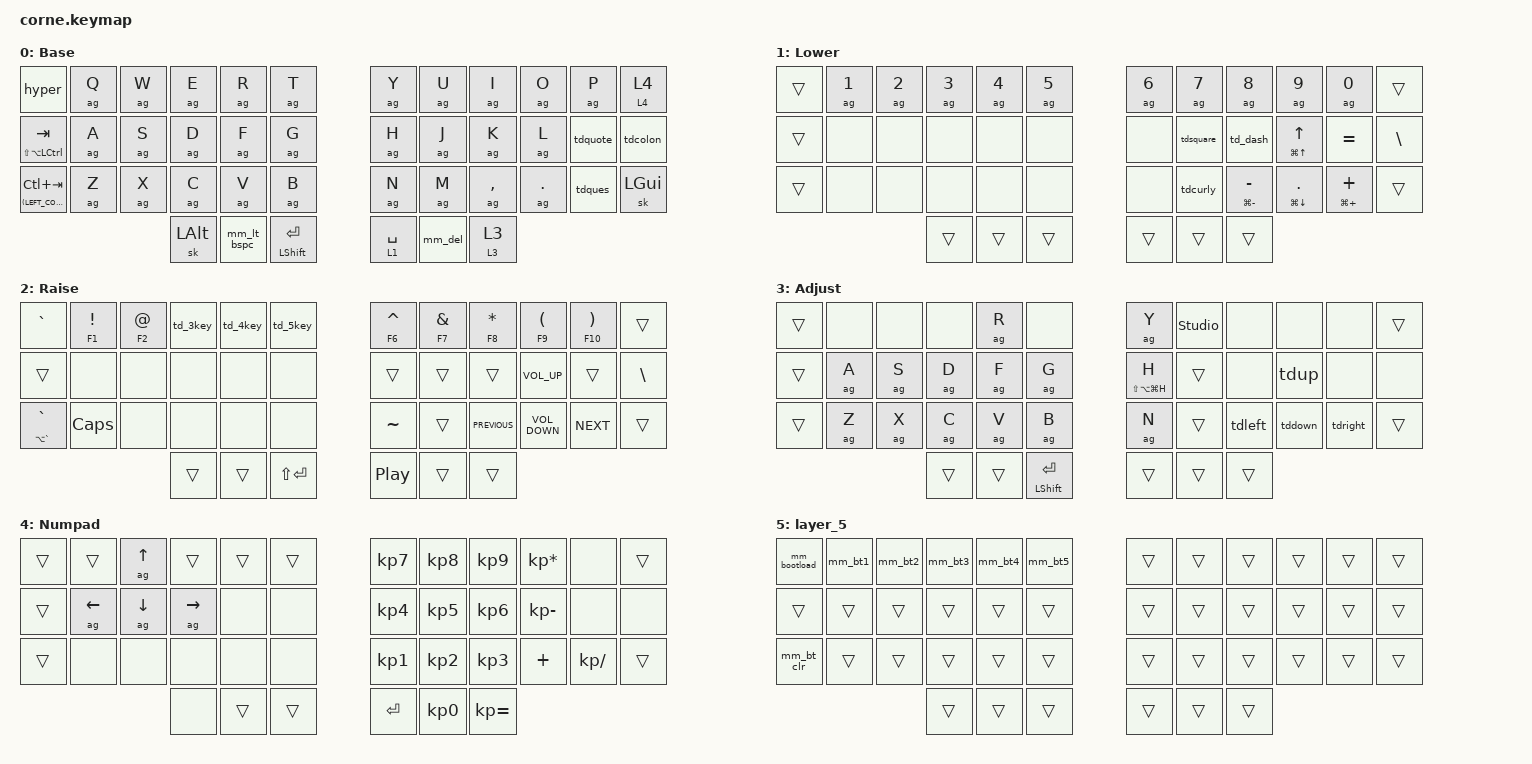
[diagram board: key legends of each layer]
/*
 * Copyright (c) 2020 The ZMK Contributors
 *
 * SPDX-License-Identifier: MIT
 */

#include <behaviors.dtsi>
#include <dt-bindings/zmk/bt.h>
#include <dt-bindings/zmk/keys.h>

#define DEFAULT 0
#define LWR     1
#define RAS     2
#define ADJ     3
#define NUM     4

#define AG(keycode) &ag LG(keycode) keycode     // AutoGUI Macro

#define MEH     &kp LC(LS(LALT))
#define HYPER   &kp LC(LS(LA(LGUI)))

&mt { tapping-term-ms = <250>; };

/ {
    behaviors {
        tdques: td_ques {
            compatible = "zmk,behavior-tap-dance";
            #binding-cells = <0>;
            tapping-term-ms = <250>;
            bindings = <&htslash 0 SLASH>, <&kp QUESTION>, <&wth>;
        };

        tdquote: td_quote {
            compatible = "zmk,behavior-tap-dance";
            #binding-cells = <0>;
            tapping-term-ms = <200>;
            bindings = <&kp SQT>, <&kp DQT>;
        };

        tdcolon: td_colon {
            compatible = "zmk,behavior-tap-dance";
            #binding-cells = <0>;
            tapping-term-ms = <250>;
            bindings = <&kp SEMICOLON>, <&kp COLON>;
        };

        tdleft: td_left {
            compatible = "zmk,behavior-tap-dance";
            #binding-cells = <0>;
            bindings = <&mt LA(LEFT) LEFT>, <&ag LEFT>;

            tapping-term-ms = <250>;
        };

        ag_ht: ag_ht {
            compatible = "zmk,behavior-hold-tap";
            label = "AG_HT";
            bindings = <&gui>, <&kp>;

            #binding-cells = <2>;
            tapping-term-ms = <250>;
            flavor = "tap-preferred";
        };

        tdright: td_right_arrow {
            compatible = "zmk,behavior-tap-dance";
            #binding-cells = <0>;
            bindings = <&mt LA(RIGHT_ARROW) RIGHT>, <&ag RIGHT_ARROW>;

            tapping-term-ms = <250>;
        };

        tdup: td_up_arrow {
            compatible = "zmk,behavior-tap-dance";
            label = "TDU";
            #binding-cells = <0>;
            bindings = <&mt PAGE_UP UP_ARROW>, <&ag UP_ARROW>;

            tapping-term-ms = <250>;
        };

        tddown: td_down_arrow {
            compatible = "zmk,behavior-tap-dance";
            label = "TDDOW";
            #binding-cells = <0>;
            bindings = <&mt PAGE_DOWN DOWN_ARROW>, <&ag DOWN_ARROW>;

            tapping-term-ms = <250>;
        };

        htslash: htslash {
            compatible = "zmk,behavior-hold-tap";
            label = "HTSLASH";
            bindings = <&interrobang>, <&kp>;

            #binding-cells = <2>;
            tapping-term-ms = <250>;
            flavor = "tap-preferred";
        };

        tdsquare: tdsquare {
            compatible = "zmk,behavior-tap-dance";
            #binding-cells = <0>;
            tapping-term-ms = <250>;
            bindings = <&ag LEFT_BRACKET>, <&kp LEFT_BRACE>;

            label = "TDSQUARE";
        };

        tdcurly: tdcurly {
            compatible = "zmk,behavior-tap-dance";
            #binding-cells = <0>;
            tapping-term-ms = <250>;
            bindings = <&ag RIGHT_BRACKET>, <&kp RIGHT_BRACE>;

            label = "TDCURLY";
        };

        hyper: hyper {
            compatible = "zmk,behavior-tap-dance";
            label = "HYPER";
            #binding-cells = <0>;
            tapping-term-ms = <300>;
            bindings =
                <&mt LS(LG(LA(LCTRL))) ESCAPE>,
                <&mt C_AL_LOCK C_POWER>,
                <&htsos LC(C_POWER) 0>;
        };

        htsos: htsos {
            compatible = "zmk,behavior-hold-tap";
            label = "HTSOS";
            bindings = <&kp>, <&sos>;

            #binding-cells = <2>;
            tapping-term-ms = <250>;
            flavor = "tap-preferred";
        };

        mo_tog: mo_tog {
            compatible = "zmk,behavior-hold-tap";
            label = "MO_TOG";
            bindings = <&mo>, <&tog>;

            #binding-cells = <2>;
            tapping-term-ms = <250>;
        };

        ht_emdash: ht_emdash {
            compatible = "zmk,behavior-hold-tap";
            label = "HT_EMDASH";
            bindings = <&kp>, <&doubledash>;

            #binding-cells = <2>;
            flavor = "tap-preferred";
            tapping-term-ms = <250>;
        };

        td_dash: td_dash {
            compatible = "zmk,behavior-tap-dance";
            label = "TD_DASH";
            #binding-cells = <0>;
            bindings =
                <&mt UNDER MINUS>,
                <&ht_emdash LS(LA(MINUS)) 0>,
                <&ht_endash LA(MINUS) 0>;
        };

        ht_endash: ht_endash {
            compatible = "zmk,behavior-hold-tap";
            label = "HT_ENDASH";
            bindings = <&kp>, <&tripledash>;

            #binding-cells = <2>;
            flavor = "tap-preferred";
            tapping-term-ms = <250>;
        };

        td_4key: td_4key {
            compatible = "zmk,behavior-tap-dance";
            label = "TD_4KEY";
            #binding-cells = <0>;
            bindings = <&mt F4 LA(NUMBER_3)>, <&kp DOLLAR>;
        };

        td_5key: td_5key {
            compatible = "zmk,behavior-tap-dance";
            label = "TD_5KEY";
            #binding-cells = <0>;
            bindings = <&mt F5 PERCENT>, <&kp LA(NUMBER_2)>;
        };

        td_3key: td_3key {
            compatible = "zmk,behavior-tap-dance";
            label = "TD_3KEY";
            #binding-cells = <0>;
            bindings = <&mt F3 HASH>, <&kp LA(LS(N2))>;
        };

        mm_lt_bspc: mm_lt_bspc {
            compatible = "zmk,behavior-mod-morph";
            label = "MM_LT_BSPC";
            bindings = <&lt 2 BACKSPACE>, <&kp LC(D)>;

            #binding-cells = <0>;
            mods = <(MOD_LCTL|MOD_LSFT|MOD_LALT|MOD_LGUI|MOD_RCTL|MOD_RSFT|MOD_RALT|MOD_RGUI)>;
        };

        mm_del: mm_del {
            compatible = "zmk,behavior-mod-morph";
            label = "MM_DEL";
            bindings = <&mt LG(BACKSPACE) LA(BACKSPACE)>, <&ht_fwd_del LC(K) 0>;

            #binding-cells = <0>;
            mods = <(MOD_LCTL|MOD_LSFT|MOD_LALT|MOD_LGUI|MOD_RCTL|MOD_RSFT|MOD_RALT|MOD_RGUI)>;
        };

        ht_fwd_del: ht_fwd_del {
            compatible = "zmk,behavior-hold-tap";
            label = "HT_FWD_DEL";
            bindings = <&kp>, <&fwd_del_word>;

            #binding-cells = <2>;
            tapping-term-ms = <250>;
        };

        mm_bt1: mm_bt1 {
            compatible = "zmk,behavior-mod-morph";
            label = "MM_BT1";
            bindings = <&none>, <&bt BT_SEL 0>;

            #binding-cells = <0>;
            mods = <(MOD_RGUI|MOD_LGUI)>;
        };

        mm_bt2: mm_bt2 {
            compatible = "zmk,behavior-mod-morph";
            label = "MM_BT2";
            bindings = <&ag UP_ARROW>, <&bt BT_SEL 1>;

            #binding-cells = <0>;
            mods = <(MOD_LGUI|MOD_RGUI)>;
        };

        mm_bt3: mm_bt3 {
            compatible = "zmk,behavior-mod-morph";
            label = "MM_BT3";
            bindings = <&none>, <&bt BT_SEL 2>;

            #binding-cells = <0>;
            mods = <(MOD_LGUI|MOD_RGUI)>;
        };

        mm_bt4: mm_bt4 {
            compatible = "zmk,behavior-mod-morph";
            label = "MM_BT4";
            bindings = <&none>, <&bt BT_SEL 3>;

            #binding-cells = <0>;
            mods = <(MOD_LGUI|MOD_RGUI)>;
        };

        mm_bt5: mm_bt5 {
            compatible = "zmk,behavior-mod-morph";
            label = "MM_BT5";
            bindings = <&none>, <&bt BT_SEL 4>;

            #binding-cells = <0>;
            mods = <(MOD_LGUI|MOD_RGUI)>;
        };

        mm_bootload: mm_bootload {
            compatible = "zmk,behavior-mod-morph";
            label = "MM_BOOTLOAD";
            bindings = <&kp ESCAPE>, <&bootloader>;

            #binding-cells = <0>;
            mods = <(MOD_LGUI|MOD_RGUI)>;
        };

        mm_bt_clr: mm_bt_clr {
            compatible = "zmk,behavior-mod-morph";
            label = "MM_BT_CLR";
            bindings = <&none>, <&bt BT_CLR>;

            #binding-cells = <0>;
            mods = <(MOD_LGUI|MOD_RGUI)>;
        };

        mm_ctrl_tab: mm_ctrl_tab {
            compatible = "zmk,behavior-mod-morph";
            label = "MM_CTRL_TAB";
            bindings = <&mt LEFT_CONTROL LC(TAB)>, <&kp TILDE>;

            #binding-cells = <0>;
            mods = <(MOD_LSFT|MOD_LALT|MOD_RALT|MOD_RSFT)>;
        };
    };
};

/ {
    macros {
        ag: ag {
            compatible = "zmk,behavior-macro-one-param";
            #binding-cells = <1>;
            bindings =
                <&macro_press>,
                <&macro_param_1to1 &macro_param_1to2 &ag_ht MACRO_PLACEHOLDER MACRO_PLACEHOLDER>,
                <&macro_pause_for_release>,
                <&macro_release>,
                <&macro_param_1to1 &macro_param_1to2 &ag_ht MACRO_PLACEHOLDER MACRO_PLACEHOLDER>;

            label = "AG";
        };

        gui: cmg {
            compatible = "zmk,behavior-macro-one-param";
            #binding-cells = <1>;
            bindings =
                <&macro_press>,
                <&kp LGUI>,
                <&macro_tap>,
                <&macro_param_1to1 &kp MACRO_PLACEHOLDER>,
                <&macro_release>,
                <&kp LGUI>;

            label = "CMG";
        };

        interrobang: interrobang {
            compatible = "zmk,behavior-macro";
            #binding-cells = <0>;
            bindings =
                <&macro_tap>,
                <&kp QUESTION &kp EXCLAMATION>,
                <&macro_release>;

            label = "interrobang";
        };

        blah: blah {
            compatible = "zmk,behavior-macro";
            #binding-cells = <0>;
            bindings = <&macro_tap>, <&kp LA(LS(LCTRL))>, <&macro_release>;

            label = "BLAH";
        };

        wth: wth {
            compatible = "zmk,behavior-macro";
            #binding-cells = <0>;
            bindings =
                <&macro_tap>,
                <&kp QUESTION &kp QUESTION &kp QUESTION>,
                <&macro_release>;

            label = "WTH";
        };

        sos: sos {
            compatible = "zmk,behavior-macro";
            #binding-cells = <0>;
            bindings = <&macro_tap>, <&kp LA(LG(ESCAPE))>, <&macro_release>;

            label = "SOS";
        };

        powerup: powerup {
            compatible = "zmk,behavior-macro";
            #binding-cells = <0>;
            bindings = <&macro_tap>, <&kp LC(C_POWER)>, <&macro_release>;

            label = "POWERUP";
        };

        doubledash: doubledash {
            compatible = "zmk,behavior-macro";
            #binding-cells = <0>;
            bindings = <&macro_tap>, <&kp MINUS &kp MINUS>, <&macro_release>;

            label = "DOUBLEDASH";
        };

        tripledash: tripledash {
            compatible = "zmk,behavior-macro";
            #binding-cells = <0>;
            bindings =
                <&macro_tap>,
                <&kp MINUS &kp MINUS &kp MINUS>,
                <&macro_release>;

            label = "TRIPLEDASH";
        };

        fwd_del_line: fwd_del_line {
            compatible = "zmk,behavior-macro";
            #binding-cells = <0>;
            bindings =
                <&macro_tap>,
                <&kp LS(LG(RIGHT)) &kp BACKSPACE>,
                <&macro_release>;

            label = "FWD_DEL_LINE";
        };

        fwd_del_word: fwd_del_word {
            compatible = "zmk,behavior-macro";
            #binding-cells = <0>;
            bindings =
                <&macro_tap>,
                <&kp LS(LA(RIGHT)) &kp BACKSPACE>,
                <&macro_release>;

            label = "FWD_DEL_WORD";
        };
    };

    combos {
        compatible = "zmk,combos";

        capwordz {
            bindings = <&caps_word>;
            key-positions = <25 26>;
        };

        caplockz {
            bindings = <&kp CAPSLOCK>;
            key-positions = <25 34>;
        };
    };

    keymap {
        compatible = "zmk,keymap";

        default_layer {
            // -----------------------------------------------------------------------------------------
            // |  TAB |  Q  |  W  |  E  |  R  |  T  |   |  Y  |  U   |  I  |  O  |  P  | BKSP |
            // | CTRL |  A  |  S  |  D  |  F  |  G  |   |  H  |  J   |  K  |  L  |  ;  |  '   |
            // | SHFT |  Z  |  X  |  C  |  V  |  B  |   |  N  |  M   |  ,  |  .  |  /  | ESC  |
            //                    | GUI | LWR | SPC |   | ENT | RSE  | ALT |

            display-name = "Base";
            bindings = <
&hyper                      &ag Q  &ag W  &ag E     &ag R        &ag T                   &ag Y        &ag U    &ag I        &ag O    &ag P     &mo_tog 4 4
&mt LS(LA(LCTRL)) TAB       &ag A  &ag S  &ag D     &ag F        &ag G                   &ag H        &ag J    &ag K        &ag L    &tdquote  &tdcolon
&mt (LEFT_CONTROL) LC(TAB)  &ag Z  &ag X  &ag C     &ag V        &ag B                   &ag N        &ag M    &ag COMMA    &ag DOT  &tdques   &sk LGUI
                                          &sk LALT  &mm_lt_bspc  &mt LEFT_SHIFT ENTER    &lt 1 SPACE  &mm_del  &mo_tog 3 3
            >;

            label = "Base";
        };

        lower_layer {
            // -----------------------------------------------------------------------------------------
            // |  TAB |  1  |  2  |  3  |  4  |  5  |   |  6  |  7  |  8  |  9  |  0  | BKSP |
            // | BTCLR| BT1 | BT2 | BT3 | BT4 | BT5 |   | LFT | DWN |  UP | RGT |     |      |
            // | SHFT |     |     |     |     |     |   |     |     |     |     |     |      |
            //                    | GUI |     | SPC |   | ENT |     | ALT |

            display-name = "Lower";
            bindings = <
&trans  &ag N1  &ag N2  &ag N3  &ag N4  &ag N5    &ag N6  &ag N7     &ag N8               &ag N9                     &ag N0             &trans
&trans  &none   &none   &none   &none   &none     &none   &tdsquare  &td_dash             &mt LG(UP_ARROW) UP_ARROW  &kp EQUAL          &kp BACKSLASH
&trans  &none   &none   &none   &none   &none     &none   &tdcurly   &mt LG(MINUS) MINUS  &mt LG(DOWN) PERIOD        &mt LG(PLUS) PLUS  &trans
                        &trans  &trans  &trans    &trans  &trans     &trans
            >;

            label = "Lower";
        };

        raise_layer {
            // -----------------------------------------------------------------------------------------
            // |  TAB |  !  |  @  |  #  |  $  |  %  |   |  ^  |  &  |  *  |  (  |  )  | BKSP |
            // | CTRL |     |     |     |     |     |   |  -  |  =  |  [  |  ]  |  \  |  `   |
            // | SHFT |     |     |     |     |     |   |  _  |  +  |  {  |  }  | "|" |  ~   |
            //                    | GUI |     | SPC |   | ENT |     | ALT |

            display-name = "Raise";
            bindings = <
&kp GRAVE            &mt F1 EXCL   &mt F2 AT  &td_3key  &td_4key  &td_5key         &mt F6 CARET      &mt F7 AMPS  &mt F8 ASTERISK  &mt F9 LPAR        &mt F10 RPAR  &trans
&trans               &none         &none      &none     &none     &none            &trans            &trans       &trans           &kp C_VOLUME_UP    &trans        &kp BACKSLASH
&mt LA(GRAVE) GRAVE  &kp CAPSLOCK  &none      &none     &none     &none            &kp TILDE         &trans       &kp C_PREVIOUS   &kp C_VOLUME_DOWN  &kp C_NEXT    &trans
                                              &trans    &trans    &kp LS(ENTER)    &kp C_PLAY_PAUSE  &trans       &trans
            >;

            label = "Raise";
        };

        adjust_layer {
            display-name = "Adjust";
            bindings = <
&trans  &none  &none  &none   &ag R   &none                   &ag Y                &studio_unlock  &none    &none    &none     &trans
&trans  &ag A  &ag S  &ag D   &ag F   &ag G                   &mt LS(LA(LG(H))) H  &trans          &none    &tdup    &none     &none
&trans  &ag Z  &ag X  &ag C   &ag V   &ag B                   &ag N                &trans          &tdleft  &tddown  &tdright  &trans
                      &trans  &trans  &mt LEFT_SHIFT ENTER    &trans               &trans          &trans
            >;

            label = "Adjust";
        };

        numpad_layer {
            bindings = <
&trans  &trans    &ag UP_ARROW  &trans     &trans  &trans    &kp KP_NUMBER_7  &kp KP_NUMBER_8  &kp KP_NUMBER_9  &kp KP_ASTERISK  &none          &trans
&trans  &ag LEFT  &ag DOWN      &ag RIGHT  &none   &none     &kp KP_NUMBER_4  &kp KP_NUMBER_5  &kp KP_NUMBER_6  &kp KP_MINUS     &none          &none
&trans  &none     &none         &none      &none   &none     &kp KP_NUMBER_1  &kp KP_NUMBER_2  &kp KP_NUMBER_3  &kp PLUS         &kp KP_DIVIDE  &trans
                                &none      &trans  &trans    &kp ENTER        &kp KP_NUMBER_0  &kp KP_EQUAL
            >;

            label = "Numpad";
        };

        layer_5 {
            bindings = <
&mm_bootload  &mm_bt1  &mm_bt2  &mm_bt3  &mm_bt4  &mm_bt5    &trans  &trans  &trans  &trans  &trans  &trans
&trans        &trans   &trans   &trans   &trans   &trans     &trans  &trans  &trans  &trans  &trans  &trans
&mm_bt_clr    &trans   &trans   &trans   &trans   &trans     &trans  &trans  &trans  &trans  &trans  &trans
                                &trans   &trans   &trans     &trans  &trans  &trans
            >;
        };
    };
};
